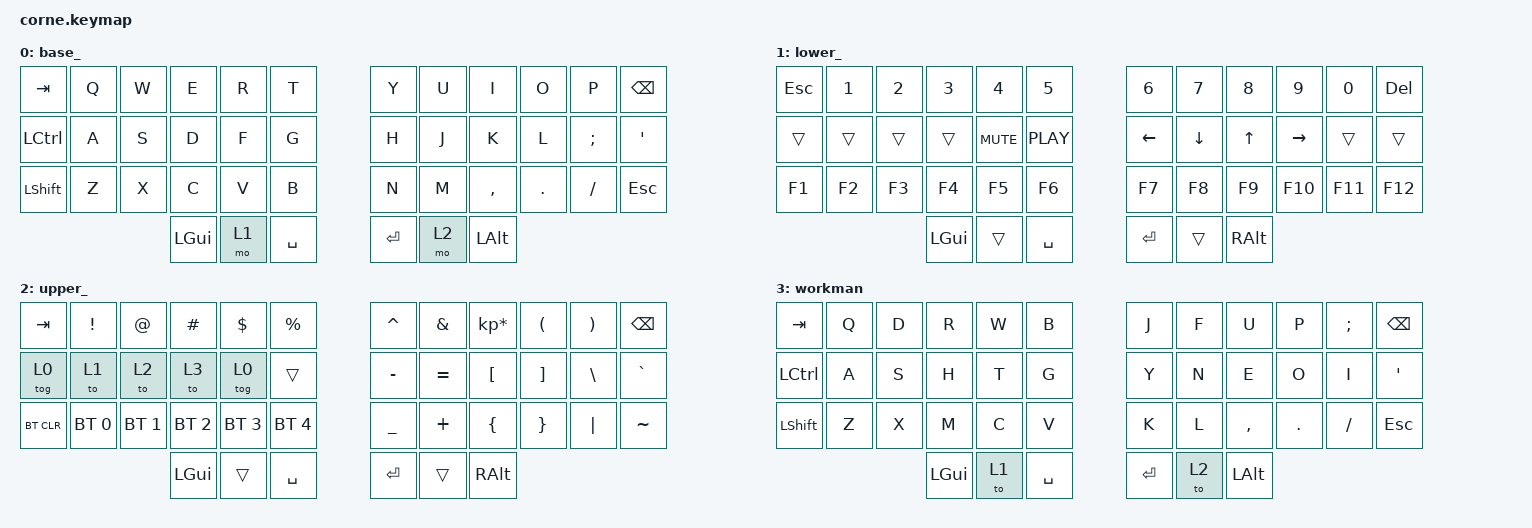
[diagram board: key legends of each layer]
/*
 * Copyright (c) 2020 The ZMK Contributors
 *
 * SPDX-License-Identifier: MIT
 */

#include <behaviors.dtsi>
#include <dt-bindings/zmk/bt.h>
#include <dt-bindings/zmk/keys.h>

/ {
    keymap {
        compatible = "zmk,keymap";

        default_layer {
            // -----------------------------------------------------------------------------------------
            // |  TAB |  Q  |  W  |  E  |  R  |  T  |   |  Y  |  U   |  I  |  O  |  P  | BKSP |
            // | CTRL |  A  |  S  |  D  |  F  |  G  |   |  H  |  J   |  K  |  L  |  ;  |  '   |
            // | SHFT |  Z  |  X  |  C  |  V  |  B  |   |  N  |  M   |  ,  |  .  |  /  | ESC  |
            //                    | GUI | LWR | SPC |   | ENT | RSE  | ALT |

            label = "base_";
            bindings = <
&kp TAB           &kp Q  &kp W  &kp E     &kp R  &kp T        &kp Y    &kp U  &kp I         &kp O    &kp P     &kp BSPC
&kp LEFT_CONTROL  &kp A  &kp S  &kp D     &kp F  &kp G        &kp H    &kp J  &kp K         &kp L    &kp SEMI  &kp SQT
&kp LSHFT         &kp Z  &kp X  &kp C     &kp V  &kp B        &kp N    &kp M  &kp COMMA     &kp DOT  &kp FSLH  &kp ESC
                                &kp LGUI  &mo 1  &kp SPACE    &kp RET  &mo 2  &kp LEFT_ALT
            >;
        };

        lower_layer {
            // -----------------------------------------------------------------------------------------
            // |  TAB |  1  |  2  |  3  |  4  |  5  |   |  6  |  7  |  8  |  9  |  0  | BKSP |
            // | BTCLR| BT1 | BT2 | BT3 | BT4 | BT5 |   | LFT | DWN |  UP | RGT |     |      |
            // | SHFT |     |     |     |     |     |   |     |     |     |     |     |      |
            //                    | GUI |     | SPC |   | ENT |     | ALT |

            label = "lower_";
            bindings = <
&kp ESCAPE  &kp N1  &kp N2  &kp N3    &kp N4      &kp N5        &kp N6    &kp N7    &kp N8    &kp N9     &kp N0   &kp DELETE
&trans      &trans  &trans  &trans    &kp K_MUTE  &kp C_PLAY    &kp LEFT  &kp DOWN  &kp UP    &kp RIGHT  &trans   &trans
&kp F1      &kp F2  &kp F3  &kp F4    &kp F5      &kp F6        &kp F7    &kp F8    &kp F9    &kp F10    &kp F11  &kp F12
                            &kp LGUI  &trans      &kp SPACE     &kp RET   &trans    &kp RALT
            >;
        };

        raise_layer {
            // -----------------------------------------------------------------------------------------
            // |  TAB |  !  |  @  |  #  |  $  |  %  |   |  ^  |  &  |  *  |  (  |  )  | BKSP |
            // | CTRL |     |     |     |     |     |   |  -  |  =  |  [  |  ]  |  \  |  `   |
            // | SHFT |     |     |     |     |     |   |  _  |  +  |  {  |  }  | "|" |  ~   |
            //                    | GUI |     | SPC |   | ENT |     | ALT |

            label = "upper_";
            bindings = <
&kp TAB     &kp EXCL      &kp AT        &kp HASH      &kp DLLR      &kp PRCNT       &kp CARET  &kp AMPS   &kp KP_MULTIPLY  &kp LPAR  &kp RPAR  &kp BSPC
&tog 0      &to 1         &to 2         &to 3         &tog 0        &trans          &kp MINUS  &kp EQUAL  &kp LBKT         &kp RBKT  &kp BSLH  &kp GRAVE
&bt BT_CLR  &bt BT_SEL 0  &bt BT_SEL 1  &bt BT_SEL 2  &bt BT_SEL 3  &bt BT_SEL 4    &kp UNDER  &kp PLUS   &kp LBRC         &kp RBRC  &kp PIPE  &kp TILDE
                                        &kp LGUI      &trans        &kp SPACE       &kp RET    &trans     &kp RALT
            >;
        };

        layer_3 {
            bindings = <
&kp TAB    &kp Q  &kp D  &kp R     &kp W  &kp B        &kp J    &kp F  &kp U      &kp P    &kp SEMI  &kp BSPC
&kp LCTRL  &kp A  &kp S  &kp H     &kp T  &kp G        &kp Y    &kp N  &kp E      &kp O    &kp I     &kp SQT
&kp LSHFT  &kp Z  &kp X  &kp M     &kp C  &kp V        &kp K    &kp L  &kp COMMA  &kp DOT  &kp FSLH  &kp ESC
                         &kp LGUI  &to 1  &kp SPACE    &kp RET  &to 2  &kp LALT
            >;

            label = "workman";
        };
    };
};
